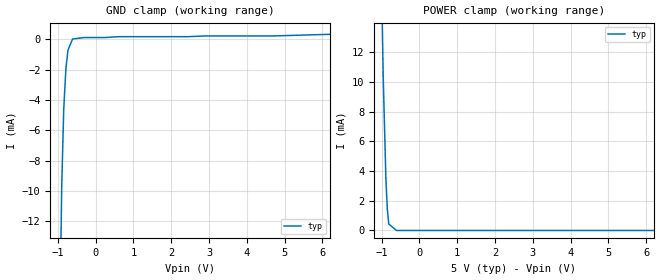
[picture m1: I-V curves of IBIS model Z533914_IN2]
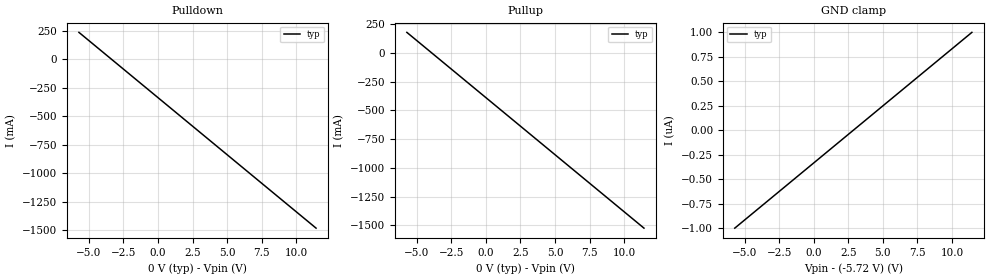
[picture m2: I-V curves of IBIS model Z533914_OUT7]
| YOU ARE ONLY AUTHORIZED TO USE THIS SOFTWARE
| ACCORDING TO LICENSOR'S LICENSE RESTRICTIONS.
[IBIS Ver] 3.1
[File Name] mc10el01d_pecl.ibs
[File Rev] 2.0
[Source] Measured and created by ICX Technology
[Date] Friday 7/14/00 9:07:50 AM
[Copyright]
| (C) COPYRIGHT 1993-2000
| MENTOR GRAPHICS CORPORATION
| ICX STANDARD LIBRARY, ICX PROJECT MODELING,
| ICX CUSTOM MODELING, ICX VENDOR MODEL
| ALL RIGHTS RESERVED.
| THE FOLLOWING ARE TRADEMARKS OR SERVICE MARKS OF
| MENTOR GRAPHICS CORPORATION:ICX (R), ICX STANDARD
| LIBRARY(R), ICX PROJECT MODELING(R), ICX CUSTOM
| MODELING(R), qualityIBIS(TM), MODELVIEWER(TM),
| AND MODELEDITOR(TM)
| ALL COPIES OF SOFTWARE, INCLUDING BUT NOT LIMITED TO
| ANY MODIFICATIONS, ENHANCEMENTS OR DERIVATIVE WORKS,
| MUST CONTAIN ALL MENTOR GRAPHICS CORPORATION'S
| NOTICES AND LEGENDS, INCLUDING THOSE EMBEDDED IN
| SOFTWARE AND THOSE AFFIXED TO SOFTWARE MEDIUM
| AND CONTAINER, AS RECEIVED FROM MENTOR GRAPHICS
| CORPORATION.
|  ZAP Model Builder 2.7
[Component] MC10EL01D_PECL
[Manufacturer] OnSemiconductor
[Package]
| variable   typ   min   max
R_pkg  .152ohms NA NA
L_pkg  2.714nH NA NA
C_pkg  .364pF NA NA
[Pin] signal_name  model_name  R_pin  L_pin C_pin
1 D0 Z533914_IN2 .154 2.924n .374p
2 D1 Z533914_IN2 .15 2.504n .354p
3 D2 Z533914_IN2 .15 2.504n .354p
4 D3 Z533914_IN2 .154 2.924n .374p
5 VEE GND .154 2.924n .374p
6 _Q Z533914_OUT7 .15 2.504n .354p
7 Q Z533914_OUT7 .15 2.504n .354p
8 VCC POWER .154 2.924n .374p
| Models and submodels in the file (2): Z533914_IN2 (Input_ECL), Z533914_OUT7 (Output_ECL)
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| (C) COPYRIGHT 1993-2000
| MENTOR GRAPHICS CORPORATION
| ICX STANDARD LIBRARY, ICX PROJECT MODELING,
| ICX CUSTOM MODELING, ICX VENDOR MODEL
| ALL RIGHTS RESERVED.
| THE FOLLOWING ARE TRADEMARKS OR SERVICE MARKS OF
| MENTOR GRAPHICS CORPORATION:ICX (R), ICX STANDARD
| LIBRARY(R), ICX PROJECT MODELING(R), ICX CUSTOM
| MODELING(R), qualityIBIS(TM), MODELVIEWER(TM),
| AND MODELEDITOR(TM)
| ALL COPIES OF SOFTWARE, INCLUDING BUT NOT LIMITED TO
| ANY MODIFICATIONS, ENHANCEMENTS OR DERIVATIVE WORKS,
| MUST CONTAIN ALL MENTOR GRAPHICS CORPORATION'S
| NOTICES AND LEGENDS, INCLUDING THOSE EMBEDDED IN
| SOFTWARE AND THOSE AFFIXED TO SOFTWARE MEDIUM
| AND CONTAINER, AS RECEIVED FROM MENTOR GRAPHICS
| CORPORATION.
| Model Application Version 1.89 2/18/99.
[Model] Z533914_IN2
Model_type Input_ECL
Vinl = 3.520V
Vinh = 3.830V
C_comp 4.000pF NA NA
| variable typ   min   max
[Voltage Range] 5.000V NA NA
[GND Clamp Reference] 0.000V NA NA
[POWER Clamp Reference] 5.000V NA NA
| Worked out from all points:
|   GND clamp passes 1 mA (typ) near -0.74 V on its own axis
|   POWER clamp passes 1 mA (typ) near -0.83 V on its own axis
[GND Clamp]
-5V       -1.347A    NA         NA
-1.016V   -30.66mA   NA         NA
-897.4mV  -9.714mA   NA         NA
-844.5mV  -4.633mA   NA         NA
-786.3mV  -1.93mA    NA         NA
-731.8mV  -712.7uA   NA         NA
-610.3mV  20.59uA    NA         NA
-305.2mV  117.6uA    NA         NA
626mV     175.4uA    NA         NA
4.67V     222.3uA    NA         NA
10V       599.4uA    NA         NA
[POWER Clamp]
-5V       1.663A     NA         NA
-1.25V    73.98mA    NA         NA
-1.128V   37.82mA    NA         NA
-1.062V   25.47mA    NA         NA
-957mV    10.35mA    NA         NA
-886mV    3.487mA    NA         NA
-850mV    1.494mA    NA         NA
-811mV    443.6uA    NA         NA
-608.2mV  0A         NA         NA
10V       0A         NA         NA
| (C) COPYRIGHT 1993-2000
| MENTOR GRAPHICS CORPORATION
| ICX STANDARD LIBRARY, ICX PROJECT MODELING,
| ICX CUSTOM MODELING, ICX VENDOR MODEL
| ALL RIGHTS RESERVED.
| THE FOLLOWING ARE TRADEMARKS OR SERVICE MARKS OF
| MENTOR GRAPHICS CORPORATION:ICX (R), ICX STANDARD
| LIBRARY(R), ICX PROJECT MODELING(R), ICX CUSTOM
| MODELING(R), qualityIBIS(TM), MODELVIEWER(TM),
| AND MODELEDITOR(TM)
| ALL COPIES OF SOFTWARE, INCLUDING BUT NOT LIMITED TO
| ANY MODIFICATIONS, ENHANCEMENTS OR DERIVATIVE WORKS,
| MUST CONTAIN ALL MENTOR GRAPHICS CORPORATION'S
| NOTICES AND LEGENDS, INCLUDING THOSE EMBEDDED IN
| SOFTWARE AND THOSE AFFIXED TO SOFTWARE MEDIUM
| AND CONTAINER, AS RECEIVED FROM MENTOR GRAPHICS
| CORPORATION.
| Model Application Version 1.89 2/18/99.
[Model] Z533914_OUT7
Model_type Output_ECL
Vref=0.000V
Rref=500.0Mohms
Cref=50.00pF
Vmeas=3.620V
C_comp 8.000pF NA NA
| variable typ   min   max
[Voltage Range] -5.720V NA NA
[POWER Clamp Reference] 0.000V NA NA
[Pullup Reference] 0.000V NA NA
[Pulldown Reference] 0.000V NA NA
[GND Clamp Reference] -5.720V NA NA
[GND Clamp]
-5.72V    -1uA       NA         NA
11.44V    1uA        NA         NA
[Pulldown]
-5.72V    237.9mA    NA         NA
11.44V    -1.48A     NA         NA
[Pullup]
-5.72V    178.2mA    NA         NA
11.44V    -1.524A    NA         NA
[POWER Clamp]
-5.72V    0A         NA         NA
11.44V    0A         NA         NA
[Ramp]
| variable typ min max
dV/dt_r 340.8m/275.8p NA NA
dV/dt_f 340.8m/179.0p NA NA
R_load = 500.0Ohms
